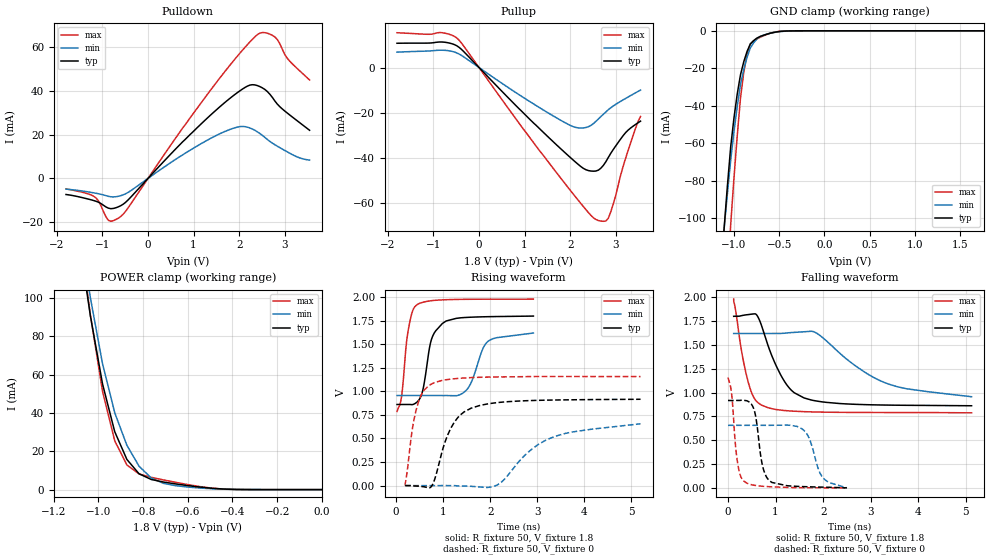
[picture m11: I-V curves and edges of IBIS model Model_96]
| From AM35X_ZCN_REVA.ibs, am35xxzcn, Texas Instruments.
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| Model based on original model for BC1833DV50BTPBFZP18LL_7LM_X50
|   Sub model LM_X50_PD_PU_OFF_1P8
[model]   Model_96
|[Description]  1.8V-I/O-PI-X
|[Input Load]   PI
|[Output Drive]
|Voltage   1.8V
|Mode   I/O
Model_type   I/O
Polarity   Non-Inverting
Enable   Active-Low
Vinl =  0.63V
Vinh =  1.17V
Cref =  15pF
Rref =  100.0000M
Vref =  0V
Vmeas =  0.9
C_comp   1.952094p   1.82457p   1.99685p
[Model Spec]
Vinl   0.63V   0.567V   0.693V
Vinh   1.17V   1.053V   1.287V
[Temperature Range]   25   125   -40
[Voltage Range]   1.8   1.62   1.98
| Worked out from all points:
|   slope of the pulldown table from 0 to 0.27 V, typ, clamps not added: 44.5 ohm
|   slope of the pullup table from 0 to 0.27 V, typ, clamps not added: 47.5 ohm
|   GND clamp passes 1 mA (typ) near -0.57 V on its own axis
|   POWER clamp passes 1 mA (typ) near -0.52 V on its own axis
|   rising waveform, R_fixture 50, V_fixture 1.8: 20-80 % time 219ps typ, 288ps min, 157ps max; typ from 0.861 V to 1.8 V
|   rising waveform, R_fixture 50, V_fixture 0: 20-80 % time 446ps typ, 981ps min, 247ps max; typ from 0 V to 0.917 V
|   falling waveform, R_fixture 50, V_fixture 1.8: 20-80 % time 522ps typ, 1.19ns min, 281ps max; typ from 1.8 V to 0.861 V
|   falling waveform, R_fixture 50, V_fixture 0: 20-80 % time 165ps typ, 259ps min, 124ps max; typ from 0.917 V to 0 V
[POWER_clamp]
-1.8V     833.4mA    863.1mA    901.3mA
-1.055V   105.1mA    114.2mA    107.4mA
-1.036V   90.84mA    100.3mA    91.29mA
-981.8mV  55.17mA    65.7mA     51.32mA
-927.3mV  30.27mA    40.17mA    25.49mA
-872.7mV  15.75mA    23.12mA    12.86mA
-818.2mV  8.252mA    12.22mA    8.168mA
-763.6mV  5.284mA    6.038mA    6.409mA
-709.1mV  3.96mA     3.258mA    5.067mA
-545.5mV  1.312mA    822.8uA    1.581mA
-381.8mV  78.85uA    70.73uA    56.5uA
0V        17.8nA     61.32nA    29.21nA
[Pulldown]
-1.8V     -7.359mA   -4.884mA   -4.817mA
-1.145V   -10.42mA   -6.784mA   -8.841mA
-872.7mV  -13.57mA   -8.176mA   -19.09mA
-600mV    -12.48mA   -7.89mA    -17.42mA
872.7mV   18.97mA    12.22mA    26.15mA
1.636V    33.77mA    20.96mA    47.46mA
2.073V    40.79mA    23.72mA    58.54mA
2.291V    42.78mA    22.54mA    63.52mA
2.455V    41.93mA    20.49mA    66.32mA
2.782V    35.41mA    15.4mA     64.63mA
3.055V    29.87mA    12.14mA    54.89mA
3.545V    21.98mA    8.327mA    44.95mA
[Pullup]
-1.8V     10.75mA    6.804mA    15.41mA
-818.2mV  11.31mA    7.663mA    15.46mA
-490.9mV  9.668mA    6.495mA    13.14mA
1.036V    -21.39mA   -14.1mA    -28.91mA
2.018V    -40.11mA   -25.78mA   -54.77mA
2.345V    -45.27mA   -26.58mA   -62.92mA
2.618V    -45.47mA   -22.82mA   -67.76mA
2.836V    -39.88mA   -18.72mA   -66.81mA
3V        -34.74mA   -16.32mA   -56.71mA
3.218V    -28.82mA   -13.69mA   -40.13mA
3.436V    -25.21mA   -11.19mA   -26.84mA
3.545V    -23.75mA   -10mA      -21.69mA
[GND_clamp]
-1.8V     -667.9mA   -536.4mA   -1.146A
-1.109V   -105.7mA   -105.8mA   -172.9mA
-1.036V   -62.15mA   -69.31mA   -103.8mA
-1V       -46.69mA   -54.01mA   -78.79mA
-963.6mV  -33.78mA   -40.45mA   -56.18mA
-927.3mV  -23.42mA   -28.62mA   -35.93mA
-890.9mV  -16.46mA   -20.57mA   -22.13mA
-854.5mV  -10.97mA   -14.07mA   -12.5mA
-818.2mV  -6.96mA    -9.12mA    -7.043mA
-745.5mV  -3.86mA    -4.36mA    -4.33mA
-418.2mV  -108.5uA   -160.9uA   -94.49uA
1.764V    17.34nA    385nA      24.83nA
[Ramp]
dV/dt_f 0.57857769/0.52592265n 0.41207972/1.2019682n 0.72544688/0.28061843n
dV/dt_r 0.56446244/0.44640832n 0.40570042/0.98334092n 0.70407733/0.24778832n
R_load = 50
[Rising Waveform]
R_fixture = 50
V_fixture = 1.8
V_fixture_min = 1.62
V_fixture_max = 1.98
19.51ps   861.3mV    956mV      787.1mV
120.4ps   861.3mV    956mV      962.5mV
262.2ps   861.1mV    956mV      1.662V
438.8ps   884.1mV    956mV      1.919V
567ps     1.012V     956mV      1.946V
756.3ps   1.559V     956mV      1.964V
985.1ps   1.722V     956mV      1.972V
1.506ns   1.786V     1.021V     1.978V
1.97ns    1.794V     1.538V     1.979V
2.917ns   1.8V       1.62V      1.98V
[Rising Waveform]
R_fixture = 50
V_fixture = 0
V_fixture_min = 0
V_fixture_max = 0
192.7ps   9.923nV    95.96nV    10.68nV
333.9ps   -1.883mV   2.204uV    561.5mV
433.1ps   -5.14mV    375.7nV    815.9mV
780.8ps   16.73mV    -2.322uV   1.085V
1.137ns   582.5mV    -137.2uV   1.129V
1.592ns   821.7mV    -7.565mV   1.147V
2.156ns   881.4mV    9.151mV    1.154V
2.854ns   902.8mV    374.7mV    1.158V
3.39ns    908.8mV    524.7mV    1.158V
5.193ns   916.6mV    656.1mV    1.158V
[Falling Waveform]
R_fixture = 50
V_fixture = 1.8
V_fixture_min = 1.62
V_fixture_max = 1.98
119.3ps   1.8V       1.62V      1.98V
275.5ps   1.805V     1.62V      1.461V
423.9ps   1.818V     1.62V      1.112V
591.7ps   1.82V      1.62V      912.8mV
711.8ps   1.692V     1.62V      866.7mV
1.158ns   1.14V      1.621V     812.8mV
1.599ns   943.1mV    1.638V     799.5mV
1.887ns   908.9mV    1.615V     795.4mV
3.283ns   868.8mV    1.106V     790.5mV
5.119ns   861.3mV    956mV      787.1mV
[Falling Waveform]
R_fixture = 50
V_fixture = 0
V_fixture_min = 0
V_fixture_max = 0
0s        916.6mV    656.1mV    1.158V
76.36ps   916.3mV    656.1mV    982.9mV
195.8ps   917.2mV    656.1mV    280.1mV
317ps     919.5mV    656.1mV    76.93mV
546.9ps   820.8mV    656.2mV    27.58mV
713.9ps   259.1mV    656.1mV    17.22mV
873.3ps   73.46mV    656.1mV    12.12mV
1.58ns    13.06mV    609.7mV    1.774mV
1.974ns   7.562mV    120.1mV    583uV
2.499ns   9.923nV    95.96nV    10.68nV
